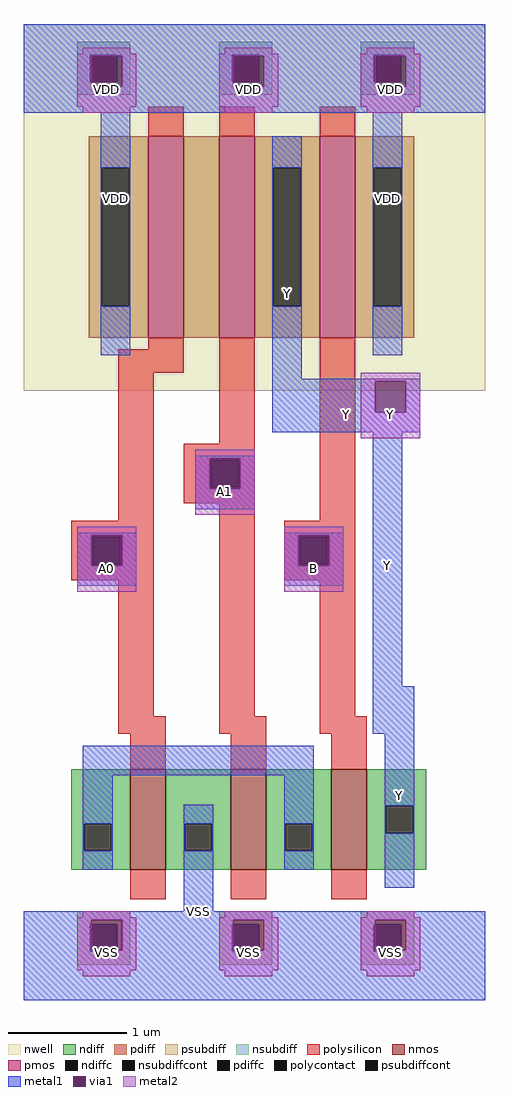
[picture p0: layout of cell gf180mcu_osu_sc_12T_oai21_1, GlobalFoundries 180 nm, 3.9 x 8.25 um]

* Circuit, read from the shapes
.subckt gf180mcu_osu_sc_12T_oai21_1 Y A0 A1 B VDD VSS
XM1 VSS A0 n1 VSS nfet_03v3 w=0.85u l=0.3u
XM2 n1 A1 VSS VSS nfet_03v3 w=0.85u l=0.3u
XM3 Y B n1 VSS nfet_03v3 w=0.85u l=0.3u
XM4 n2 A0 VDD VDD pfet_03v3 w=1.7u l=0.3u
XM5 Y A1 n2 VDD pfet_03v3 w=1.7u l=0.3u
XM6 VDD B Y VDD pfet_03v3 w=1.7u l=0.3u
.ends

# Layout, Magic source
magic
tech gf180mcuC
magscale 1 10
<< nwell >>
rect 0 1000 780 1620
<< nmos >>
rect 180 190 240 360
rect 350 190 410 360
rect 520 190 580 360
<< pmos >>
rect 210 1090 270 1430
rect 330 1090 390 1430
rect 500 1090 560 1430
<< ndiff >>
rect 80 268 180 360
rect 80 222 102 268
rect 148 222 180 268
rect 80 190 180 222
rect 240 268 350 360
rect 240 222 272 268
rect 318 222 350 268
rect 240 190 350 222
rect 410 268 520 360
rect 410 222 442 268
rect 488 222 520 268
rect 410 190 520 222
rect 580 298 680 360
rect 580 252 612 298
rect 658 252 680 298
rect 580 190 680 252
<< pdiff >>
rect 110 1377 210 1430
rect 110 1143 132 1377
rect 178 1143 210 1377
rect 110 1090 210 1143
rect 270 1090 330 1430
rect 390 1377 500 1430
rect 390 1143 422 1377
rect 468 1143 500 1377
rect 390 1090 500 1143
rect 560 1377 660 1430
rect 560 1143 592 1377
rect 638 1143 660 1377
rect 560 1090 660 1143
<< ndiffc >>
rect 102 222 148 268
rect 272 222 318 268
rect 442 222 488 268
rect 612 252 658 298
<< pdiffc >>
rect 132 1143 178 1377
rect 422 1143 468 1377
rect 592 1143 638 1377
<< psubdiff >>
rect 90 98 180 120
rect 90 52 112 98
rect 158 52 180 98
rect 90 30 180 52
rect 330 98 420 120
rect 330 52 352 98
rect 398 52 420 98
rect 330 30 420 52
rect 570 98 660 120
rect 570 52 592 98
rect 638 52 660 98
rect 570 30 660 52
<< nsubdiff >>
rect 90 1568 180 1590
rect 90 1522 112 1568
rect 158 1522 180 1568
rect 90 1500 180 1522
rect 330 1568 420 1590
rect 330 1522 352 1568
rect 398 1522 420 1568
rect 330 1500 420 1522
rect 570 1568 660 1590
rect 570 1522 592 1568
rect 638 1522 660 1568
rect 570 1500 660 1522
<< psubdiffcont >>
rect 112 52 158 98
rect 352 52 398 98
rect 592 52 638 98
<< nsubdiffcont >>
rect 112 1522 158 1568
rect 352 1522 398 1568
rect 592 1522 638 1568
<< polysilicon >>
rect 210 1430 270 1480
rect 330 1430 390 1480
rect 500 1430 560 1480
rect 210 1070 270 1090
rect 160 1030 270 1070
rect 160 780 220 1030
rect 330 910 390 1090
rect 270 883 390 910
rect 270 837 317 883
rect 363 837 390 883
rect 270 810 390 837
rect 80 753 220 780
rect 80 707 117 753
rect 163 707 220 753
rect 80 680 220 707
rect 160 450 220 680
rect 330 450 390 810
rect 500 780 560 1090
rect 440 753 560 780
rect 440 707 467 753
rect 513 707 560 753
rect 440 680 560 707
rect 500 450 560 680
rect 160 420 240 450
rect 330 420 410 450
rect 500 420 580 450
rect 180 360 240 420
rect 350 360 410 420
rect 520 360 580 420
rect 180 140 240 190
rect 350 140 410 190
rect 520 140 580 190
<< polycontact >>
rect 317 837 363 883
rect 117 707 163 753
rect 467 707 513 753
<< metal1 >>
rect 0 1568 780 1620
rect 0 1522 112 1568
rect 158 1566 352 1568
rect 398 1566 592 1568
rect 638 1566 780 1568
rect 166 1522 352 1566
rect 406 1522 592 1566
rect 0 1514 114 1522
rect 166 1514 354 1522
rect 406 1514 594 1522
rect 646 1514 780 1566
rect 0 1470 780 1514
rect 130 1377 180 1470
rect 130 1143 132 1377
rect 178 1143 180 1377
rect 130 1060 180 1143
rect 420 1377 470 1430
rect 420 1143 422 1377
rect 468 1143 470 1377
rect 420 1020 470 1143
rect 590 1377 640 1470
rect 590 1143 592 1377
rect 638 1143 640 1377
rect 590 1060 640 1143
rect 420 1016 670 1020
rect 420 964 594 1016
rect 646 964 670 1016
rect 420 930 670 964
rect 290 886 390 890
rect 290 834 314 886
rect 366 834 390 886
rect 290 800 390 834
rect 90 756 190 760
rect 90 704 114 756
rect 166 704 190 756
rect 90 670 190 704
rect 440 756 540 760
rect 440 704 464 756
rect 516 704 540 756
rect 440 670 540 704
rect 590 500 640 930
rect 590 420 660 500
rect 100 350 490 400
rect 100 268 150 350
rect 100 222 102 268
rect 148 222 150 268
rect 100 190 150 222
rect 270 268 320 300
rect 270 222 272 268
rect 318 222 320 268
rect 270 120 320 222
rect 440 268 490 350
rect 440 222 442 268
rect 488 222 490 268
rect 440 190 490 222
rect 610 298 660 420
rect 610 252 612 298
rect 658 252 660 298
rect 610 160 660 252
rect 0 106 780 120
rect 0 98 114 106
rect 166 98 354 106
rect 406 98 594 106
rect 0 52 112 98
rect 166 54 352 98
rect 406 54 592 98
rect 646 54 780 106
rect 158 52 352 54
rect 398 52 592 54
rect 638 52 780 54
rect 0 -30 780 52
<< via1 >>
rect 114 1522 158 1566
rect 158 1522 166 1566
rect 354 1522 398 1566
rect 398 1522 406 1566
rect 594 1522 638 1566
rect 638 1522 646 1566
rect 114 1514 166 1522
rect 354 1514 406 1522
rect 594 1514 646 1522
rect 594 964 646 1016
rect 314 883 366 886
rect 314 837 317 883
rect 317 837 363 883
rect 363 837 366 883
rect 314 834 366 837
rect 114 753 166 756
rect 114 707 117 753
rect 117 707 163 753
rect 163 707 166 753
rect 114 704 166 707
rect 464 753 516 756
rect 464 707 467 753
rect 467 707 513 753
rect 513 707 516 753
rect 464 704 516 707
rect 114 98 166 106
rect 354 98 406 106
rect 594 98 646 106
rect 114 54 158 98
rect 158 54 166 98
rect 354 54 398 98
rect 398 54 406 98
rect 594 54 638 98
rect 638 54 646 98
<< metal2 >>
rect 100 1570 180 1580
rect 340 1570 420 1580
rect 580 1570 660 1580
rect 90 1566 190 1570
rect 90 1514 114 1566
rect 166 1514 190 1566
rect 90 1480 190 1514
rect 330 1566 430 1570
rect 330 1514 354 1566
rect 406 1514 430 1566
rect 330 1480 430 1514
rect 570 1566 670 1570
rect 570 1514 594 1566
rect 646 1514 670 1566
rect 570 1480 670 1514
rect 100 1470 180 1480
rect 340 1470 420 1480
rect 580 1470 660 1480
rect 570 1016 670 1030
rect 570 964 594 1016
rect 646 964 670 1016
rect 570 920 670 964
rect 290 886 390 900
rect 290 834 314 886
rect 366 834 390 886
rect 290 790 390 834
rect 90 756 190 770
rect 90 704 114 756
rect 166 704 190 756
rect 90 660 190 704
rect 440 756 540 770
rect 440 704 464 756
rect 516 704 540 756
rect 440 660 540 704
rect 100 110 180 120
rect 340 110 420 120
rect 580 110 660 120
rect 90 106 190 110
rect 90 54 114 106
rect 166 54 190 106
rect 90 20 190 54
rect 330 106 430 110
rect 330 54 354 106
rect 406 54 430 106
rect 330 20 430 54
rect 570 106 670 110
rect 570 54 594 106
rect 646 54 670 106
rect 570 20 670 54
rect 100 10 180 20
rect 340 10 420 20
rect 580 10 660 20
<< labels >>
rlabel metal2 s 100 10 180 90 4 VSS
port 11 nsew ground bidirectional
rlabel metal2 s 100 1470 180 1550 4 VDD
port 10 nsew power bidirectional abutment
rlabel metal2 s 570 920 670 1000 4 Y
port 1 nsew signal output
rlabel metal2 s 90 660 190 740 4 A0
port 2 nsew signal input
rlabel metal2 s 290 790 390 870 4 A1
port 3 nsew signal input
rlabel metal2 s 440 660 540 740 4 B
port 4 nsew signal input
rlabel metal1 s 90 670 190 730 1 A0
port 2 nsew signal input
rlabel metal1 s 290 800 390 860 1 A1
port 3 nsew signal input
rlabel metal1 s 440 670 540 730 1 B
port 4 nsew signal input
rlabel metal2 s 90 1480 190 1540 1 VDD
port 10 nsew power bidirectional abutment
rlabel metal2 s 340 1470 420 1550 1 VDD
port 10 nsew power bidirectional abutment
rlabel metal2 s 330 1480 430 1540 1 VDD
port 10 nsew power bidirectional abutment
rlabel metal2 s 580 1470 660 1550 1 VDD
port 10 nsew power bidirectional abutment
rlabel metal2 s 570 1480 670 1540 1 VDD
port 10 nsew power bidirectional abutment
rlabel metal1 s 130 1060 180 1590 1 VDD
port 10 nsew power bidirectional abutment
rlabel metal1 s 590 1060 640 1590 1 VDD
port 10 nsew power bidirectional abutment
rlabel metal1 s 0 1470 780 1590 1 VDD
port 10 nsew power bidirectional abutment
rlabel metal2 s 90 20 190 80 1 VSS
port 11 nsew ground bidirectional
rlabel metal2 s 340 10 420 90 1 VSS
port 11 nsew ground bidirectional
rlabel metal2 s 330 20 430 80 1 VSS
port 11 nsew ground bidirectional
rlabel metal2 s 580 10 660 90 1 VSS
port 11 nsew ground bidirectional
rlabel metal2 s 570 20 670 80 1 VSS
port 11 nsew ground bidirectional
rlabel metal1 s 270 -30 320 270 1 VSS
port 11 nsew ground bidirectional
rlabel metal1 s 0 -30 780 90 1 VSS
port 11 nsew ground bidirectional
rlabel metal1 s 420 930 470 1400 1 Y
port 1 nsew signal output
rlabel metal1 s 590 420 640 990 1 Y
port 1 nsew signal output
rlabel metal1 s 610 160 660 470 1 Y
port 1 nsew signal output
rlabel metal1 s 420 930 670 990 1 Y
port 1 nsew signal output
<< properties >>
string FIXED_BBOX 0 -30 780 1590
string GDS_END 419118
string GDS_FILE $PDKPATH/libs.ref/gf180mcu_osu_sc_12T/gds/gf180mcu_osu_sc_12T.gds
string GDS_START 411778
string LEFclass CORE
string LEFsite GF018hv5v_mcu_sc7
string LEFsymmetry X Y
<< end >>
